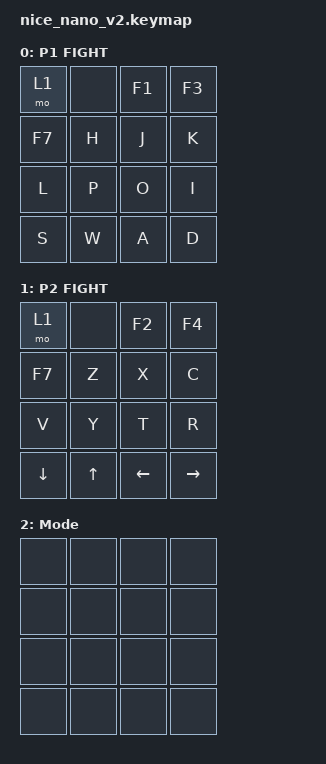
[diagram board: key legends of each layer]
#include <behaviors.dtsi>
#include <dt-bindings/zmk/keys.h>

/ {
    keymap {
        compatible = "zmk,keymap";

        /* PLAYER 1 - FIGHT模式 */
        default_layer {
            display-name = "P1 FIGHT";
            bindings = <
                &mo 1   &none    &kp F1   &kp F3
                &kp F7   &kp H    &kp J    &kp K
                &kp L    &kp P    &kp O    &kp I
                &kp S    &kp W    &kp A    &kp D
            >;
        };

        /* PLAYER 2 - FIGHT模式 */
        p2_layer {
            display-name = "P2 FIGHT";
            bindings = <
                &mo 1   &none    &kp F2   &kp F4
                &kp F7   &kp Z    &kp X    &kp C
                &kp V    &kp Y    &kp T    &kp R
                &kp DOWN &kp UP   &kp LEFT &kp RIGHT
            >;
        };

        /* 模式切换层 */
        mode_layer {
            display-name = "Mode";
            bindings = <
                &none    &none    &none    &none
                &none    &none    &none    &none
                &none    &none    &none    &none
                &none    &none    &none    &none
            >;
        };
    };
};
